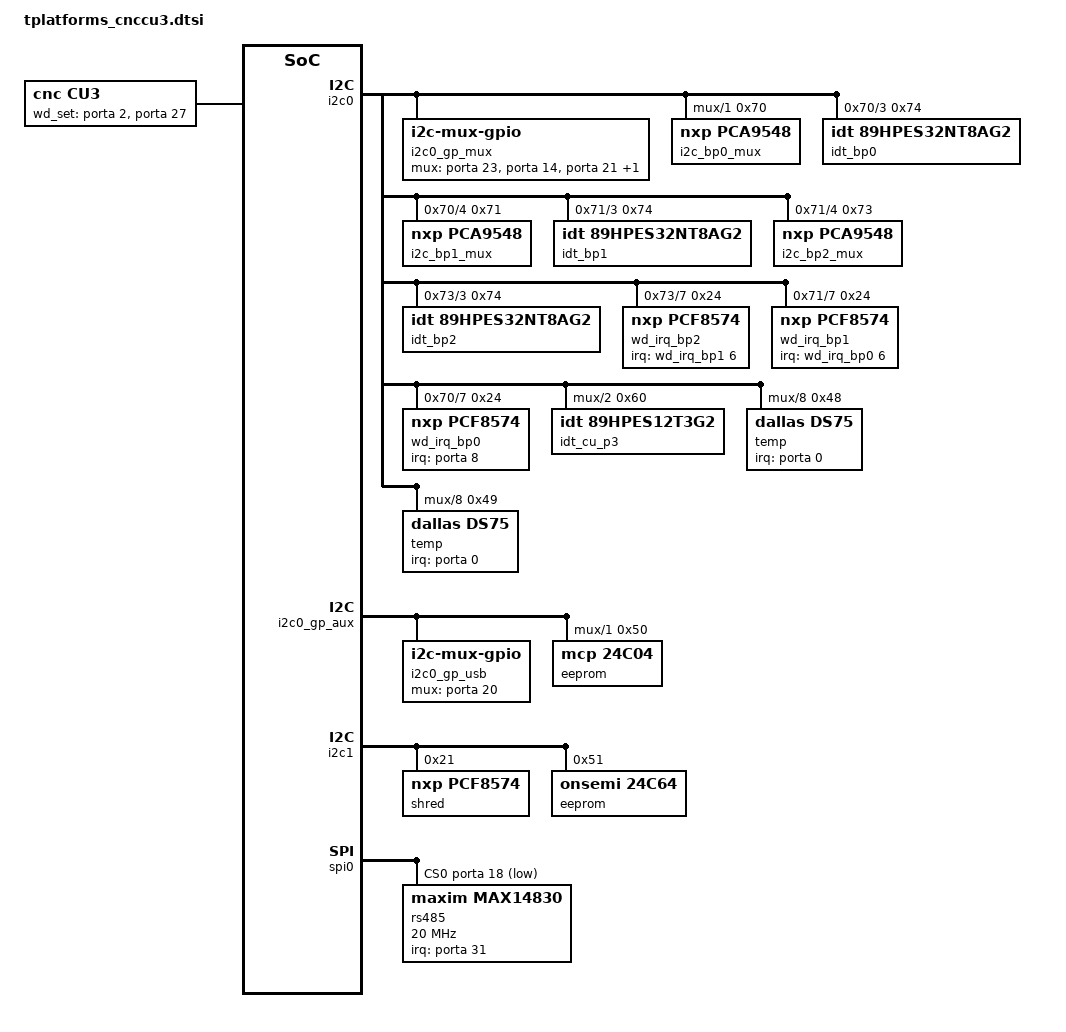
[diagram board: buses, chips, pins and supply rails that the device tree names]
/*
 * Baikal-T/T1 CNC CU v3 board device tree
 *
 * Copyright (C) 2018 T-platforms JSC
 *
 * This program is free software; you can redistribute it and/or
 * modify it under the terms of the GNU General Public License
 * as published by the Free Software Foundation; either version 2
 * of the License, or (at your option) any later version.
 */

#include "tplatforms_cnccu-clocks.dtsi"

/ {
	/* Reserve memory regions for CMA and NTB */
	reserved-memory {
		#address-cells = <2>;
		#size-cells = <2>;
		ranges;

		/* Reserve 32MB for CMA-based allocations */
		cma: buffer@0 {
			compatible = "shared-dma-pool";
			alloc-ranges = <0 0x01000000 0 0x05000000>;
			size = <0 0x2000000>;
			alignment = <0 0x1000000>;
			reusable; /* specific for CMA */
		};
	};

	i2c0_gp_mux {
		compatible = "i2c-mux-gpio";
		#address-cells = <1>;
		#size-cells = <0>;
		i2c-parent = <&i2c0>;
		mux-gpios = <&porta 23 GPIO_ACTIVE_HIGH &porta 14 GPIO_ACTIVE_HIGH
			     &porta 21 GPIO_ACTIVE_HIGH &porta 15 GPIO_ACTIVE_HIGH>;
		idle-state = <0>; /* Noone is connected on idle */

		i2c0_gp_p2: i2c0_gp_mux@1 {
			reg = <1>;
			#address-cells = <1>;
			#size-cells = <0>;

			/* Backplanes #0,1,3 - see redefinition in the end of dts*/
		};

		i2c0_gp_idt: i2c0_gp_mux@2 {
			reg = <2>;
			#address-cells = <1>;
			#size-cells = <0>;

			/* IDT 89HPES12T3G2@0x60 - eeprom, registers access interface */
			idt_cu_p3@60 {
				compatible = "idt,89hpes12t3g2";
				reg = <0x60>;
				#address-cells = <1>;
				#size-cells = <0>;

				idt_cu_eeprom@50 {
					compatible = "atmel,24c512";
					reg = <0x50>;
					/* Set read-only if no jumper is placed */
					/* read-only; */
				};
			};
		};

		i2c0_gp_p4: i2c0_gp_mux@4 {
			reg = <4>;
			#address-cells = <1>;
			#size-cells = <0>;

			/* DVI TFP410@0x38, VGA SM750@0x0 - no pull-up,
			 * may hang up */
		};

		i2c0_gp_aux: i2c0_gp_mux@8 {
			reg = <8>;
			#address-cells = <1>;
			#size-cells = <0>;

			temp@48 {
				compatible = "dallas,ds75";
				reg = <0x48>;
				/* Interrupt isn't supported on CU rev.1 */
				interrupt-parent = <&porta>;
				interrupts = <0 IRQ_TYPE_LEVEL_HIGH>;
			};

			temp@49 {
				compatible = "dallas,ds75";
				reg = <0x49>;
				/* Interrupt isn't supported on CU rev.1 */
				interrupt-parent = <&porta>;
				interrupts = <0 IRQ_TYPE_LEVEL_HIGH>;
			};
		};
	};

	i2c0_gp_usb {
		compatible = "i2c-mux-gpio";
		#address-cells = <1>;
		#size-cells = <0>;
		i2c-parent = <&i2c0_gp_aux>;
		mux-gpios = <&porta 20 GPIO_ACTIVE_HIGH>;
		idle-state = <0>; /* Noone is connected on idle */

		i2c0_gp_sdmmc: i2c0_gp_usb@1 {
			reg = <1>;
			#address-cells = <1>;
			#size-cells = <0>;

			eeprom@50 {
				compatible = "mcp,24c04";
				reg = <0x50>;
				pagesize = <16>;
				/* The rest of device addresses are assigned
				 * with dummy devices */
			};

			/* USB SDMMC - master (need to enable) */
		};
	};

	/* CNC CU v3 board platform device */
	cnc {
		compatible = "cnc,cu3", "cnc,cu", "cnc,board";
		#address-cells = <1>;
		#size-cells = <0>;

		memory-region = <&cma>;
		board_info = <&shred>;

		wd_set-gpios = <&porta 2  GPIO_ACTIVE_HIGH>, /* wd_set pin */
			       <&porta 27 GPIO_ACTIVE_HIGH>; /* wd_in  pin */

		cnc_bp@0 {
			compatible = "cnc,bp3", "cnc,bp";
			reg = <0>;

			board_idt_smb = <&idt_bp0_ssmb>;
			board_io0_smb = <&io0_bp0_smb>;
			board_io1_smb = <&io1_bp0_smb>;
			board_down_smb = <&down_bp0_smb>;

			wd_irq-gpios = <&wd_irq_bp0 5 GPIO_ACTIVE_HIGH>, /* IDT PCIe P4 */
				       <&wd_irq_bp0 4 GPIO_ACTIVE_HIGH>, /* IDT PCIe P6 */
				       <&wd_irq_bp0 3 GPIO_ACTIVE_HIGH>, /* IDT PCIe P8 */
				       <&wd_irq_bp0 2 GPIO_ACTIVE_HIGH>, /* IDT PCIe P12 */
				       <&wd_irq_bp0 1 GPIO_ACTIVE_HIGH>, /* IDT PCIe P16 */
				       <&wd_irq_bp0 0 GPIO_ACTIVE_HIGH>; /* IDT PCIe P20 */
		};

		cnc_bp@1 {
			compatible = "cnc,bp3", "cnc,bp";
			reg = <1>;

			board_idt_smb = <&idt_bp1_ssmb>;
			board_io0_smb = <&io0_bp1_smb>;
			board_io1_smb = <&io1_bp1_smb>;
			board_down_smb = <&down_bp1_smb>;

			wd_irq-gpios = <&wd_irq_bp1 5 GPIO_ACTIVE_HIGH>, /* IDT PCIe P4 */
				       <&wd_irq_bp1 4 GPIO_ACTIVE_HIGH>, /* IDT PCIe P6 */
				       <&wd_irq_bp1 3 GPIO_ACTIVE_HIGH>, /* IDT PCIe P8 */
				       <&wd_irq_bp1 2 GPIO_ACTIVE_HIGH>, /* IDT PCIe P12 */
				       <&wd_irq_bp1 1 GPIO_ACTIVE_HIGH>, /* IDT PCIe P16 */
				       <&wd_irq_bp1 0 GPIO_ACTIVE_HIGH>; /* IDT PCIe P20 */
		};

		cnc_bp@2 {
			compatible = "cnc,bp3", "cnc,bp";
			reg = <3>;

			board_idt_smb = <&idt_bp2_ssmb>;
			board_io0_smb = <&io0_bp2_smb>;
			board_io1_smb = <&io1_bp2_smb>;
			board_down_smb = <&down_bp2_smb>;

			wd_irq-gpios = <&wd_irq_bp2 5 GPIO_ACTIVE_HIGH>, /* IDT PCIe P4 */
				       <&wd_irq_bp2 4 GPIO_ACTIVE_HIGH>, /* IDT PCIe P6 */
				       <&wd_irq_bp2 3 GPIO_ACTIVE_HIGH>, /* IDT PCIe P8 */
				       <&wd_irq_bp2 2 GPIO_ACTIVE_HIGH>, /* IDT PCIe P12 */
				       <&wd_irq_bp2 1 GPIO_ACTIVE_HIGH>, /* IDT PCIe P16 */
				       <&wd_irq_bp2 0 GPIO_ACTIVE_HIGH>; /* IDT PCIe P20 */
		};
	};
};

&sata {
	status = "disabled";
};

&mdio0 {
	status = "disabled";
};

&xgmac {
	status = "disabled";
};

&i2c1 {
	status = "okay";

	shred: gpio@21 {
		compatible = "nxp,pcf8574";
		reg = <0x21>;
		gpio-controller;
		#gpio-cells = <2>;
		ngpios = <8>; /* Informative */
	};

	eeprom@51 {
		compatible = "onsemi,24c64";
		reg = <0x51>;
		pagesize = <16>;
	};
};

&uart1 {
	status = "disabled";
};

/* RS485/RS232 SPI-devices */
&spi0 {
	status = "okay";
	num-cs = <1>;
	cs-gpios = <&porta 18 GPIO_ACTIVE_LOW>;

	rs485: max14830@0 {
		compatible = "maxim,max14830", "spidev";
		reg = <0>;
		spi-max-frequency = <20000000>;
		clocks = <&rs485_xtal>;
		clock-names = "xtal";
		interrupt-parent = <&porta>;
		interrupts = <31 IRQ_TYPE_EDGE_FALLING>;
		gpio-controller;
		#gpio-cells = <2>;
		ngpios = <16>; /* Informative */

		#address-cells = <1>;
		#size-cells = <0>;

		port@1 {
			reg = <1>;
			linux,rs485-enabled-at-boot-time;
		};
		port@2 {
			reg = <2>;
			linux,rs485-enabled-at-boot-time;
		};
		port@3 {
			reg = <3>;
			linux,rs485-enabled-at-boot-time;
		};
        };
};

&spi1 {
	status = "disabled";
};

/*
 * Backplane #0 - optional PCIe x16 connected board, which reside IDT PCIe
 * switch and can have up to six peripheral boards. CU is plugged to its
 * upstream port and Backplane #1 - to it downstream port.
 */
&i2c0_gp_p2 {
	/* Backplane #0 main i2c-mux */
	i2c_bp0_mux: i2c_bp0_sw@70 {
		compatible = "nxp,pca9548";
		reg = <0x70>;
		#address-cells = <1>;
		#size-cells = <0>;
		idle-state = <0>; /* Spare0 is connected on idle */

		/* Peripherals IO#0 SMBus */
		io0_bp0_smb: i2c_bp0@2 {
			reg = <2>;
			#address-cells = <1>;
			#size-cells = <0>;
		};

		/* IDT PCIe-switch Slave SMBus */
		idt_bp0_ssmb: i2c_bp0@3 {
			reg = <3>;
			#address-cells = <1>;
			#size-cells = <0>;

			/* IDT 89H32NT8AG2@0x74 - eeprom, CSR iface */
			idt_bp0@74 {
				compatible = "idt,89hpes32nt8ag2";
				reg = <0x74>;
				#address-cells = <1>;
				#size-cells = <0>;

				idt_bp0_eeprom@50 {
					compatible = "onsemi,24c64";
					reg = <0x50>;
					/* read-only; */
				};
			};

			/* IDT9DBV0841@6C - PCIe freq,
			 *  TPS56720@6E - DC/DC conv */
		};

		/* Downstream SMBus */
		down_bp0_smb: i2c_bp0@4 {
			reg = <4>;
			#address-cells = <1>;
			#size-cells = <0>;

			/* Backplane #1 */
		};

		/* Peripherals IO#1 SMBus */
		io1_bp0_smb: i2c_bp0@5 {
			reg = <5>;
			#address-cells = <1>;
			#size-cells = <0>;
		};

		/* WD irq expander SMBus
		 * NOTE This is specific for rev.3 backplanes
		 */
		wd_bp0_smb: i2c_bp0@7 {
			reg = <7>;
			#address-cells = <1>;
			#size-cells = <0>;

			wd_irq_bp0: wd_exp_bp0@24 {
				compatible = "nxp,pcf8574";
				reg = <0x24>;

				gpio-controller;
				#gpio-cells = <2>;
				ngpios = <8>; /* Informative */

				interrupt-parent = <&porta>;
				interrupts = <8 IRQ_TYPE_EDGE_FALLING>;
				interrupt-controller;
				#interrupt-cells = <2>;
			};
		};
	};
};

/*
 * Backplane #1 - optional PCIe x16 connected board, which reside IDT PCIe
 * switch and can have up to six peripheral boards. Backplane #0 is plugged
 * to its upstream port and Backplane #3 - to it downstream port.
 */
&down_bp0_smb {
	/* Backplane #1 main i2c-mux */
	i2c_bp1_mux: i2c_bp1_sw@71 {
		compatible = "nxp,pca9548";
		reg = <0x71>;
		#address-cells = <1>;
		#size-cells = <0>;
		idle-state = <0>; /* Spare0 is connected on idle */

		/* Peripherals IO#0 SMBus */
		io0_bp1_smb: i2c_bp1@2 {
			reg = <2>;
			#address-cells = <1>;
			#size-cells = <0>;
		};

		/* IDT PCIe-switch Slave SMBus */
		idt_bp1_ssmb: i2c_bp1@3 {
			reg = <3>;
			#address-cells = <1>;
			#size-cells = <0>;

			/* IDT 89H32NT8AG2@0x74 - eeprom, CSR iface */
			idt_bp1@74 {
				compatible = "idt,89hpes32nt8ag2";
				reg = <0x74>;
				#address-cells = <1>;
				#size-cells = <0>;

				idt_bp1_eeprom@50 {
					compatible = "onsemi,24c64";
					reg = <0x50>;
					/* read-only; */
				};
			};

			/* IDT9DBV0841@6C - PCIe freq,
			 *  TPS56720@6E - DC/DC conv */
		};

		/* Downstream SMBus */
		down_bp1_smb: i2c_bp1@4 {
			reg = <4>;
			#address-cells = <1>;
			#size-cells = <0>;

			/* Backplane #3 */
		};

		/* Peripherals IO#1 SMBus */
		io1_bp1_smb: i2c_bp1@5 {
			reg = <5>;
			#address-cells = <1>;
			#size-cells = <0>;
		};

		/* WD irq expander SMBus
		 * NOTE This is specific for rev.3 backplanes
		 */
		wd_bp1_smb: i2c_bp1@7 {
			reg = <7>;
			#address-cells = <1>;
			#size-cells = <0>;

			wd_irq_bp1: wd_exp_bp1@24 {
				compatible = "nxp,pcf8574";
				reg = <0x24>;

				gpio-controller;
				#gpio-cells = <2>;
				ngpios = <8>; /* Informative */

				interrupt-parent = <&wd_irq_bp0>;
				interrupts = <6 IRQ_TYPE_EDGE_FALLING>;
				interrupt-controller;
				#interrupt-cells = <2>;
			};
		};
	};
};

/*
 * Backplane #2 - optional PCIe x16 connected board, which reside IDT PCIe
 * switch and can have up to six peripheral boards. Backplane #1 is plugged
 * to its upstream port and practically nothing should be on downstream
 * from platform point of view. Theoretically other backplanes or some PCIe
 * end-point devices can be connected to downstream port, but CU won't be
 * able to reach any of i2c-based functionality exposed from there.
 */
&down_bp1_smb {
	/* Backplane #1 main i2c-mux */
	i2c_bp2_mux: i2c_bp2_sw@73 {
		compatible = "nxp,pca9548";
		reg = <0x73>;
		#address-cells = <1>;
		#size-cells = <0>;
		idle-state = <0>; /* Spare0 is connected on idle */

		/* Peripherals IO#0 SMBus */
		io0_bp2_smb: i2c_bp2@2 {
			reg = <2>;
			#address-cells = <1>;
			#size-cells = <0>;
		};

		/* IDT PCIe-switch Slave SMBus */
		idt_bp2_ssmb: i2c_bp2@3 {
			reg = <3>;
			#address-cells = <1>;
			#size-cells = <0>;

			/* IDT 89H32NT8AG2@0x74 - eeprom, CSR iface */
			idt_bp2@74 {
				compatible = "idt,89hpes32nt8ag2";
				reg = <0x74>;
				#address-cells = <1>;
				#size-cells = <0>;

				idt_bp2_eeprom@50 {
					compatible = "onsemi,24c64";
					reg = <0x50>;
					/* read-only; */
				};
			};

			/* IDT9DBV0841@6C - PCIe freq,
			 *  TPS56720@6E - DC/DC conv */
		};

		/* Downstream SMBus */
		down_bp2_smb: i2c_bp2@4 {
			reg = <4>;
			#address-cells = <1>;
			#size-cells = <0>;

			/* Platform undefined devices */
		};

		/* Peripherals IO#1 SMBus */
		io1_bp2_smb: i2c_bp2@5 {
			reg = <5>;
			#address-cells = <1>;
			#size-cells = <0>;
		};

		/* WD irq expander SMBus
		 * NOTE This is specific for rev.3 backplanes
		 */
		wd_bp2_smb: i2c_bp2@7 {
			reg = <7>;
			#address-cells = <1>;
			#size-cells = <0>;

			wd_irq_bp2: wd_exp_bp2@24 {
				compatible = "nxp,pcf8574";
				reg = <0x24>;

				gpio-controller;
				#gpio-cells = <2>;
				ngpios = <8>; /* Informative */

				interrupt-parent = <&wd_irq_bp1>;
				interrupts = <6 IRQ_TYPE_EDGE_FALLING>;
				interrupt-controller;
				#interrupt-cells = <2>;
			};
		};
	};
};
